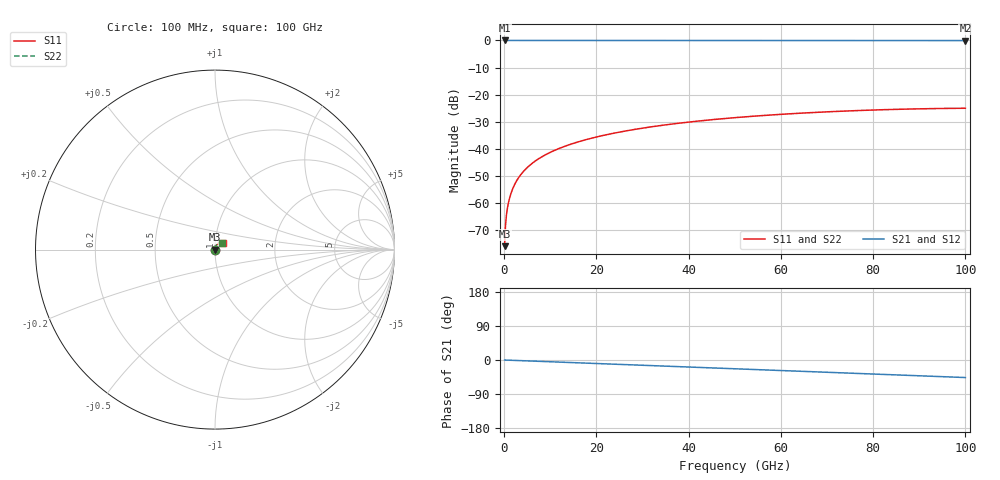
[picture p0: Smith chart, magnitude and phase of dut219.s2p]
! Touchstone file exported from HFSS 2026.1.0
!  File:  C:/ffzhzh/LocalFiles/Ansys_Project_Files/temp_train_TSV_219_1783507785_44152.aedt
!  Generated:  06:51:00 PM Jul  8, 2026
!  Design:  TSV
!  Project:  temp_train_TSV_219_1783507785_44152
! Variables:
!  h_bsmrdl = 2um
!  h_ox = 20um
!  h_rdl = 5um
!  h_sub = 90.61um
!  h_tmrdl = 5um
!  h_tsv = 90.61um
!  h_via = 3um
!  l_bsmrdl = 300um
!  l_sub = 425.34um
!  l_tmrdl = 200um
!  m_sub = 200um
!  pitch = 56.91um
!  r_tsv = 12.67um
!  s_tmrdl = 10um
!  w_bsmrdl = 18um
!  w_sub = 500um
!  w_tmrdl = 12um
!  x_tsv_center1 = 206um
!  x_tsv_center2 = 524um
!  x_tsv_center3 = 736um
!  x_tsv_center4 = 1054um
!  x_tsv_center5 = 1266um
!  x_tsv_center6 = 1584um
# GHz S MA R 50.000000
! Terminal data exported
! Port[1] = TSV1_1_T1
! Port[2] = TSV1_1_T2
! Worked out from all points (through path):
!   1000 points, 100 MHz to 100 GHz, reference 50 ohm
!   highest |S21| = 0.00 dB at 100 MHz (marker M1); lowest = 0.0 dB at 100 GHz (marker M2)
!   group delay of S21, straight-line fit = 1.28 ps
!   lowest |S11| = -75.9 dB at 100 MHz (marker M3), VSWR 1.00, Z = 50 + j0.0127 ohm
!   |S11| at or under -10 dB: start of sweep to end of sweep
!   |S22| runs from -75.9 to -25.0 dB; largest |S21 - S12| = 3.5e-15
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0.1  0.0001597 52.9  0.9999 -0.0  0.9999 -0.0  0.0001597 52.9
! Gamma 0 0 0 0
! Port Impedance 50 0 50 0
0.3  0.0003889 70.0  0.9999 -0.1  0.9999 -0.1  0.0003889 70.0
0.7  0.0007965 73.8  0.9998 -0.3  0.9998 -0.3  0.0007965 73.8
0.8  0.0008896 74.3  0.9998 -0.4  0.9998 -0.4  0.0008896 74.3
1  0.001071 75.3  0.9997 -0.5  0.9997 -0.5  0.001071 75.3
1.3  0.00134 76.5  0.9997 -0.6  0.9997 -0.6  0.00134 76.5
1.8  0.001782 77.9  0.9997 -0.8  0.9997 -0.8  0.001782 77.9
2.4  0.002306 78.9  0.9996 -1.1  0.9996 -1.1  0.002306 78.9
3.1  0.002908 79.5  0.9995 -1.5  0.9995 -1.5  0.002908 79.5
3.9  0.003586 79.9  0.9995 -1.8  0.9995 -1.8  0.003586 79.9
4.9  0.004422 80.2  0.9994 -2.3  0.9994 -2.3  0.004422 80.2
6.1  0.005417 80.3  0.9993 -2.8  0.9993 -2.8  0.005417 80.3
8.9  0.007713 80.1  0.9992 -4.1  0.9992 -4.1  0.007713 80.1
12.4  0.01054 79.2  0.999 -5.7  0.999 -5.7  0.01054 79.2
16.8  0.01403 77.8  0.9988 -7.8  0.9988 -7.8  0.01403 77.8
24.2  0.01974 75.1  0.9985 -11.2  0.9985 -11.2  0.01974 75.1
33.4  0.02654 71.3  0.9981 -15.4  0.9981 -15.4  0.02653 71.4
41.3  0.03202 68.0  0.9978 -19.1  0.9978 -19.1  0.03202 68.0
50.1  0.03765 64.1  0.9974 -23.1  0.9974 -23.1  0.03765 64.2
66.7  0.04666 56.8  0.9967 -30.8  0.9967 -30.8  0.04666 56.8
83.4  0.05308 49.2  0.996 -38.5  0.996 -38.5  0.05308 49.3
100  0.05608 41.7  0.9954 -46.3  0.9954 -46.3  0.05608 41.8
